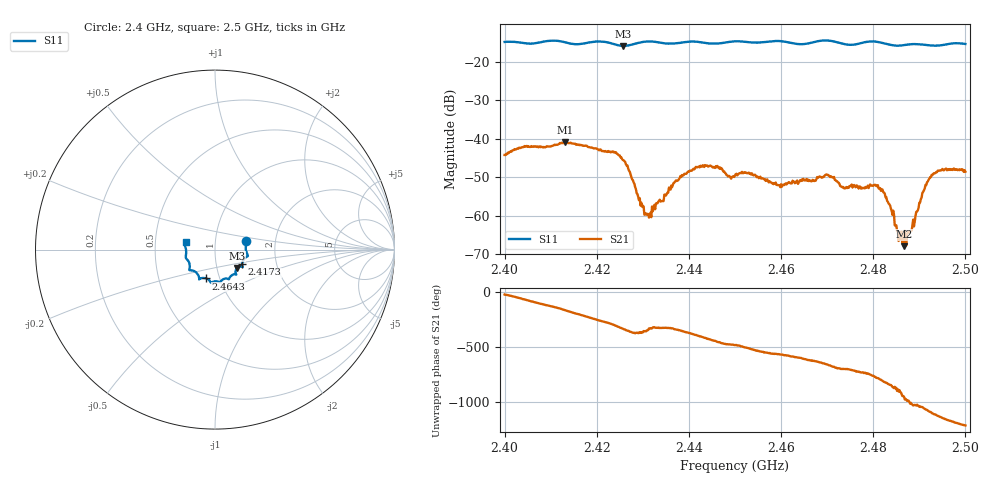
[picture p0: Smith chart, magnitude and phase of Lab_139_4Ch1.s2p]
# Hz S RI R
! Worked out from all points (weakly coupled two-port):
!   601 points, 2.4 GHz to 2.5 GHz, reference 50 ohm
!   highest |S21| = -40.96 dB at 2.4132 GHz (marker M1); lowest = -67.9 dB at 2.4867 GHz (marker M2)
!   lowest |S11| = -15.9 dB at 2.4257 GHz (marker M3), VSWR 1.38, Z = 62.5 - j13.1 ohm
!   |S11| at or under -10 dB: start of sweep to end of sweep
!   S12 and S22 are empty: the file has one direction only
!   S11 on the Smith chart (normalised r, x): 2.4 GHz: 1.41, +0.14; 2.4173 GHz: 1.34, -0.23; 2.4643 GHz: 0.86, -0.28; 2.5 GHz: 0.72, +0.06
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2.4e9  0.1731 0.0489  0.00562 -0.00245  0 0  0 0
2.413167e9  0.1729 -0.042  -0.00872 -0.00206  0 0  0 0
2.416667e9  0.1526 -0.0744  -0.00707 0.00426  0 0  0 0
2.417333e9  0.1517 -0.0817  -0.00626 0.00509  0 0  0 0
2.425667e9  0.1228 -0.1024  0.00476 0.00229  0 0  0 0
2.430833e9  0.1187 -0.1387  0.00102 0.00017  0 0  0 0
2.433333e9  0.1129 -0.1372  0.00122 0.000896  0 0  0 0
2.442e9  0.0745 -0.1642  0.00331 -0.00273  0 0  0 0
2.45e9  0.0288 -0.1811  -0.00186 -0.00278  0 0  0 0
2.459667e9  -0.0239 -0.1833  -0.0022 0.00117  0 0  0 0
2.464333e9  -0.0499 -0.1606  -0.00142 0.00244  0 0  0 0
2.466667e9  -0.076 -0.1591  -0.000381 0.00277  0 0  0 0
2.47e9  -0.0881 -0.1659  0.00167 0.00297  0 0  0 0
2.4735e9  -0.094 -0.1416  0.00224 0.000757  0 0  0 0
2.4805e9  -0.1435 -0.1116  0.00148 -0.00203  0 0  0 0
2.483333e9  -0.1407 -0.0898  -0.000687 -0.00127  0 0  0 0
2.485167e9  -0.145 -0.07  -0.000635 1.09e-05  0 0  0 0
2.486667e9  -0.1531 -0.0579  -0.000246 0.000318  0 0  0 0
2.4885e9  -0.1617 -0.0478  0.000425 0.000608  0 0  0 0
2.491167e9  -0.162 -0.033  0.00215 0.000656  0 0  0 0
2.492667e9  -0.1608 -0.0181  0.00319 -0.00115  0 0  0 0
2.5e9  -0.1639 0.0424  -0.00265 -0.00263  0 0  0 0
